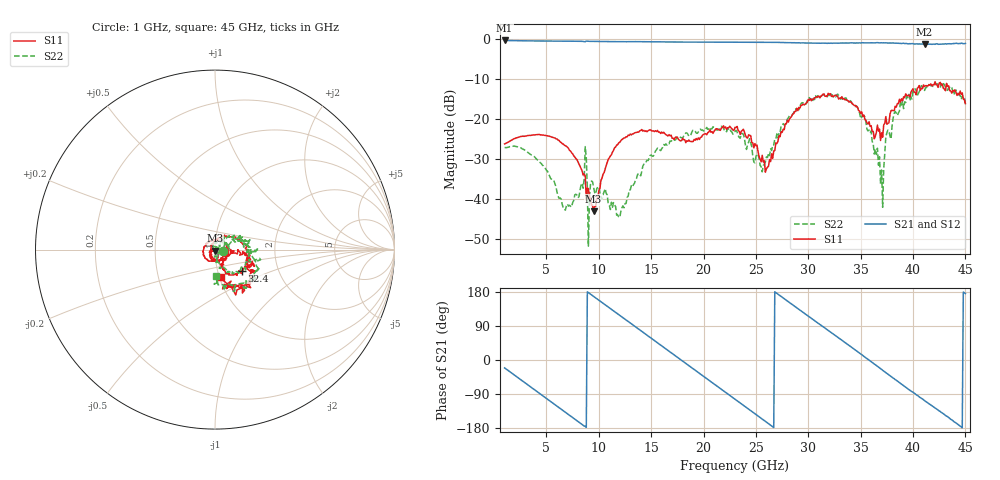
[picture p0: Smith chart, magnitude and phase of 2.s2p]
!Keysight Technologies,N5247B,MY61255062,A.19.80.06
!Date: Monday, May 18, 2026 12:39:20
!Correction: S11(Cdelta 2-Port  )
!S21(Cdelta 2-Port  )
!S12(Cdelta 2-Port  )
!S22(Cdelta 2-Port  )
!S2P File: Measurements: S11, S21, S12, S22:
# Hz S  dB  R 50
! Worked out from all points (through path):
!   441 points, 1 GHz to 45 GHz, reference 50 ohm
!   highest |S21| = -0.41 dB at 1 GHz (marker M1); lowest = -1.4 dB at 41.1 GHz (marker M2)
!   group delay of S21, straight-line fit = 55.8 ps
!   lowest |S11| = -43.0 dB at 9.5 GHz (marker M3), VSWR 1.01, Z = 49.8 - j0.681 ohm
!   |S11| at or under -10 dB: start of sweep to end of sweep
!   |S22| runs from -51.7 to -11.2 dB; largest |S21 - S12| = 0.016
!   S11 on the Smith chart (normalised r, x): 1 GHz: 1.10, -0.02; 32.4 GHz: 1.31, -0.32; 45 GHz: 1.02, -0.32
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1e9  -26.24 -8.7  -0.41 -20.9  -0.41 -20.8  -27.10 -8.6
4.6e9  -24.03 -83.8  -0.55 -93.5  -0.55 -93.5  -31.51 -65.3
6.7e9  -26.55 -127.9  -0.59 -135.8  -0.58 -135.8  -42.30 -47.1
8.4e9  -32.98 -152.0  -0.63 -170.2  -0.62 -170.2  -36.04 -3.7
8.6e9  -33.74 -151.4  -0.71 -174.3  -0.71 -174.2  -34.84 91.1
9.1e9  -39.45 -143.5  -0.63 175.8  -0.63 175.8  -39.80 -58.6
9.5e9  -43.02 -104.6  -0.65 167.8  -0.65 167.8  -37.13 -21.5
1.19e10  -25.93 -72.6  -0.72 119.6  -0.71 119.6  -44.43 -118.0
1.37e10  -23.28 -110.5  -0.71 83.4  -0.71 83.4  -33.89 117.0
1.57e10  -23.31 -158.1  -0.75 43.1  -0.75 43.2  -27.67 81.7
1.9e10  -25.64 80.0  -0.82 -22.9  -0.81 -22.9  -22.77 35.2
2.11e10  -22.73 -0.8  -0.81 -65.0  -0.81 -65.0  -22.12 15.7
2.3e10  -22.10 -53.2  -0.83 -103.3  -0.82 -103.3  -23.13 -10.8
2.56e10  -29.07 -155.3  -0.86 -155.9  -0.85 -155.8  -33.19 13.4
2.67e10  -27.98 103.1  -0.88 -178.2  -0.88 -178.1  -26.46 52.3
3.04e10  -15.06 0.4  -1.05 107.7  -1.06 107.7  -15.72 11.7
3.24e10  -14.44 -38.0  -1.07 68.2  -1.10 68.3  -14.67 -22.6
3.53e10  -19.02 -67.0  -1.01 9.7  -1.03 9.9  -19.22 -72.7
3.69e10  -25.37 -13.1  -1.01 -23.0  -1.00 -22.7  -36.24 26.2
3.77e10  -20.96 -13.6  -1.06 -39.4  -1.05 -39.4  -23.03 47.6
4.11e10  -11.91 -39.6  -1.39 -107.2  -1.34 -106.8  -12.88 -14.8
4.5e10  -16.16 -78.2  -1.15 175.5  -1.19 175.5  -16.60 -87.3
